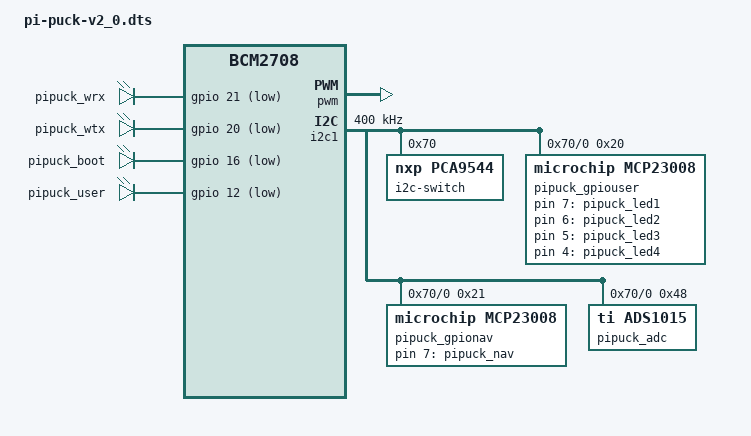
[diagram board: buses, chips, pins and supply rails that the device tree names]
/dts-v1/;
/plugin/;

/ {
	compatible = "brcm,bcm2708";

	/* System LEDs */
	fragment@0 {
		target = <&leds>;
		__overlay__ {
			compatible = "gpio-leds";
			/* pipuck_sd {
				label = "pipuck_sd";
				gpios = <&gpio 7 GPIO_ACTIVE_LOW>; // GP_LED1
				linux,default-trigger = "mmc0";
			}; */
			pipuck_wrx {
				label = "pipuck_wrx";
				gpios = <&gpio 21 1>; // GP_LED5
				linux,default-trigger = "phy0rx";
			};
			pipuck_wtx {
				label = "pipuck_wtx";
				gpios = <&gpio 20 1>; // GP_LED4
				linux,default-trigger = "phy0tx";
			};
			pipuck_boot {
				label = "pipuck_boot";
				gpios = <&gpio 16 1>; // GP_LED3
				linux,default-trigger = "heartbeat";
			};
			pipuck_user {
				label = "pipuck_user";
				gpios = <&gpio 12 1>; // GP_LED2
				linux,default-trigger = "mmc0"; // Workaround for GP_LED1 not being connected
			};
		};
	};

	/* Control switch keys */
	fragment@1 {
		target-path = "/soc";
		__dormant__ {
			control-switches {
				compatible = "gpio-keys";
				pipuck_switch1 {
					label = "pipuck_switch1";
					gpios = <&gpio 26 0>; // SW1
					linux,code = <256>;
				};
			};
		};
	};
	fragment@2 {
		target-path = "/soc";
		__dormant__ {
			control-switches {
				compatible = "gpio-keys";
				pipuck_switch2 {
					label = "pipuck_switch2";
					gpios = <&gpio 19 0>; // SW2
					linux,code = <257>;
				};
				pipuck_switch3 {
					label = "pipuck_switch3";
					gpios = <&gpio 13 0>; // SW3
					linux,code = <258>;
				};
				pipuck_switch4 {
					label = "pipuck_switch4";
					gpios = <&gpio 17 0>; // SW4
					linux,code = <259>;
				};
			};
		};
	};

	/* Control switch power key */
	fragment@3 {
		target-path = "/soc";
		__dormant__ {
			control-switches {
				compatible = "gpio-keys";
				pipuck_switch1 {
					label = "shutdown";
					linux,code = <116>; // KEY_POWER
					gpios = <&gpio 26 0>;
				};

			};
		};
	};

	/* Audio output */
	fragment@4 {
		target = <&gpio>;
		__overlay__ {
			pwm_pins: pwm_pins {
				brcm,pins = <18>;
				brcm,function = <2>; // Alt5
			};
		};
	};
	fragment@5 {
		target = <&pwm>;
		__overlay__ {
			pinctrl-names = "default";
			pinctrl-0 = <&pwm_pins>;
			status = "okay";
		};
	};

	/* I2C devices */
	fragment@6 {
		target = <&i2c1>;
		__overlay__ {
			#address-cells = <1>;
			#size-cells = <0>;
			status = "okay";
			clock-frequency = <400000>;
			i2c-switch@70 {
				compatible = "nxp,pca9544";
				#address-cells = <1>;
				#size-cells = <0>;
				reg = <0x70>;
				i2c@0 {
					#address-cells = <1>;
					#size-cells = <0>;
					reg = <0>;
					pipuck_gpiouser: gpio@20 {
						compatible = "microchip,mcp23008";
						gpio-controller;
						#gpio-cells = <2>;
						reg = <0x20>;
					};
					pipuck_gpionav: gpio@21 {
						compatible = "microchip,mcp23008";
						gpio-controller;
						#gpio-cells = <2>;
						reg = <0x21>;
					};
					pipuck_adc: ads1015@48 {
						compatible = "ti,ads1015";
						reg = <0x48>;
						#address-cells = <1>;
						#size-cells = <0>;
						pipuck_ain0: channel@4 {
							reg = <4>;
							ti,gain = <0>;
							ti,datarate = <0>;
						};
						pipuck_ain1: channel@5 {
							reg = <5>;
							ti,gain = <0>;
							ti,datarate = <0>;
						};
					};
					/* OLED 0x3c */
				};
				i2c@1 {
					#address-cells = <1>;
					#size-cells = <0>;
					reg = <1>;
					/* e-puck */
				};
				i2c@2 {
					#address-cells = <1>;
					#size-cells = <0>;
					reg = <2>;
					/* Left LIDAR 0x29 */
				};
				i2c@3 {
					#address-cells = <1>;
					#size-cells = <0>;
					reg = <3>;
					/* Right LIDAR 0x29 */
				};
			};
		};
	};

	/* User LEDs */
	fragment@7 {
		target = <&leds>;
		__overlay__ {
			compatible = "gpio-leds";
			pipuck_led1 {
				label = "pipuck_led1";
				gpios = <&pipuck_gpiouser 7 0>; // LED14
			};
			pipuck_led2 {
				label = "pipuck_led2";
				gpios = <&pipuck_gpiouser 6 0>; // LED13
			};
			pipuck_led3 {
				label = "pipuck_led3";
				gpios = <&pipuck_gpiouser 5 0>; // LED11
			};
			pipuck_led4 {
				label = "pipuck_led4";
				gpios = <&pipuck_gpiouser 4 0>; // LED12
			};
		};
	};

	/* Nav LED */
	fragment@8 {
		target = <&leds>;
		__overlay__ {
			compatible = "gpio-leds";
			pipuck_nav {
				label = "pipuck_nav";
				gpios = <&pipuck_gpionav 7 0>; // LED9
			};
		};
	};

	/* Disable Bluetooth to free up UART */
	fragment@9 {
		target = <&uart1>;
		__dormant__ {
			status = "disabled";
		};
	};
	fragment@10 {
		target = <&uart0>;
		__dormant__ {
			pinctrl-names = "default";
			pinctrl-0 = <&uart0_pins>;
			status = "okay";
		};
	};
	fragment@11 {
		target = <&uart0_pins>;
		__dormant__ {
			brcm,pins;
			brcm,function;
			brcm,pull;
		};
	};
	fragment@12 {
		target-path = "/aliases";
		__dormant__ {
			serial0 = "/soc/serial@7e201000";
			serial1 = "/soc/serial@7e215040";
		};
	};

	/* Enable external ADC channels */
	fragment@13 {
		target = <&pipuck_adc>;
		__dormant__ {
			#address-cells = <1>;
			#size-cells = <0>;
			pipuck_ain2: channel@6 {
				reg = <6>;
				ti,gain = <2>;
				ti,datarate = <4>;
			};
		};
	};
	fragment@14 {
		target = <&pipuck_adc>;
		__dormant__ {
			#address-cells = <1>;
			#size-cells = <0>;
			pipuck_ain3: channel@7 {
				reg = <7>;
				ti,gain = <2>;
				ti,datarate = <4>;
			};
		};
	};

	__overrides__ {
		control_keys = <0>,"+1+2-3";
		power_key = <0>,"-1+3";
		uart = <0>,"+9+10+11+12";
		ain2 = <0>,"+13";
		ain2_gain = <&pipuck_ain2>,"ti,gain:0";
		ain2_datarate = <&pipuck_ain2>,"ti,datarate:0";
		ain3 = <0>,"+14";
		ain3_gain = <&pipuck_ain3>,"ti,gain:0";
		ain3_datarate = <&pipuck_ain3>,"ti,datarate:0";
	};
};
